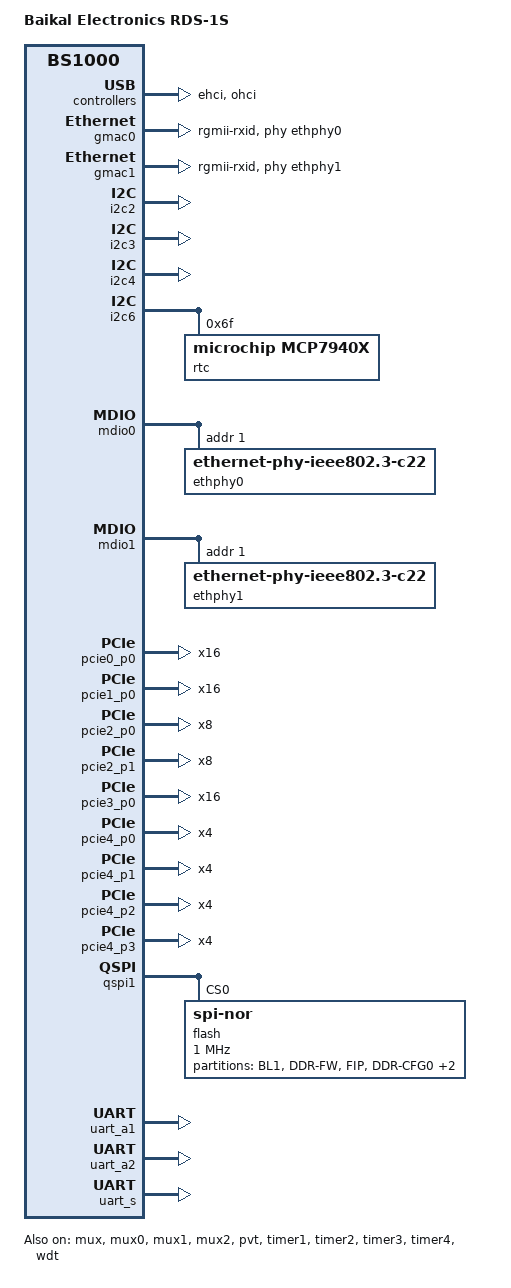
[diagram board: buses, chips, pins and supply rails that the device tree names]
// SPDX-License-Identifier: GPL-2.0
/*
 * Device tree source for Baikal Electronics RDS-1S board
 * Copyright (C) 2023-2024 Baikal Electronics, JSC
 */

/dts-v1/;

#include "bs1000.dtsi"

/ {
	model = "Baikal Electronics RDS-1S";
	compatible = "baikal,rds-1s", "baikal,bs1000";

	aliases {
		ethernet0 = &gmac0;
		ethernet1 = &gmac1;
	};

	chosen { };
};

&ehci {
	status = "okay";
};

&gmac0 {
	status = "okay";
	phy-handle = <&ethphy0>;
	phy-mode = "rgmii-rxid";
};

&gmac1 {
	status = "okay";
	phy-handle = <&ethphy1>;
	phy-mode = "rgmii-rxid";
};

&gpio32 {
	status = "okay";
};

&i2c2 {
	status = "okay";
};

&i2c3 {
	status = "okay";
};

&i2c4 {
	status = "okay";
};

&i2c6 {
	status = "okay";

	rtc@6f {
		compatible = "microchip,mcp7940x";
		reg = <0x6f>;
	};
};

#if 0
&mailbox {
	status = "okay";
};
#endif

&mdio0 {
	ethphy0: ethernet-phy@1 {
		compatible = "ethernet-phy-ieee802.3-c22";
		reg = <0x1>;
	};
};

&mdio1 {
	ethphy1: ethernet-phy@1 {
		compatible = "ethernet-phy-ieee802.3-c22";
		reg = <0x1>;
	};
};

&mux {
	status = "okay";
	uart-smbus-enabled;
};

&mux0 {
	status = "okay";
};

&mux1 {
	status = "okay";
};

&mux2 {
	status = "okay";
};

&ohci {
	status = "okay";
};

&pcie0_p0 {
	status = "okay";
	num-lanes = <16>;
};

&pcie0_p0_ep {
	status = "okay";
	num-lanes = <16>;
};

/delete-node/ &pcie0_p0_ep;

&pcie1_p0 {
	status = "okay";
	num-lanes = <16>;
};

&pcie1_p0_ep {
	status = "okay";
	num-lanes = <16>;
};

/delete-node/ &pcie1_p0_ep;

&pcie2_p0 {
	status = "okay";
	num-lanes = <8>;
};

&pcie2_p0_ep {
	status = "okay";
	num-lanes = <8>;
};

/delete-node/ &pcie2_p0_ep;

&pcie2_p1 {
	status = "okay";
	num-lanes = <8>;
};

&pcie3_p0 {
	status = "okay";
	num-lanes = <16>;
};

&pcie4_p0 {
	status = "okay";
	num-lanes = <4>;
};

&pcie4_p1 {
	status = "okay";
	num-lanes = <4>;
};

&pcie4_p2 {
	status = "okay";
	num-lanes = <4>;
};

&pcie4_p3 {
	status = "okay";
	num-lanes = <4>;
};

&pvt {
	status = "okay";
};

&qspi1 {
	status = "okay";
	num-cs = <4>;

	flash@0 {
		compatible = "jedec,spi-nor";
		reg = <0>;
		spi-max-frequency = <1000000>;
		spi-tx-bus-width = <1>;
		spi-rx-bus-width = <1>;
		status = "okay";

		partitions {
			compatible = "fixed-partitions";
			#address-cells = <1>;
			#size-cells = <1>;

			partition@0 {
				label = "BL1";
				reg = <0x000000 0x20000>;
			};

			partition@20000 {
				label = "DDR-FW";
				reg = <0x020000 0x20000>;
			};

			partition@40000 {
				label = "FIP";
				reg = <0x40000 0x200000>;
			};

			partition@240000 {
				label = "DDR-CFG0";
				reg = <0x240000 0x40000>;
			};

			partition@280000 {
				label = "DDR-CFG1";
				reg = <0x280000 0x40000>;
			};

			partition@2c0000 {
				label = "UEFI vars";
				reg = <0x2c0000 0xc0000>;
			};
		};
	};
};

&timer1 {
	status = "okay";
};

&timer2 {
	status = "okay";
};

&timer3 {
	status = "okay";
};

&timer4 {
	status = "okay";
};

&uart_a1 {
	status = "okay";
};

&uart_a2 {
	status = "okay";
};

&uart_s {
	status = "okay";
};

&wdt {
	status = "okay";
};
